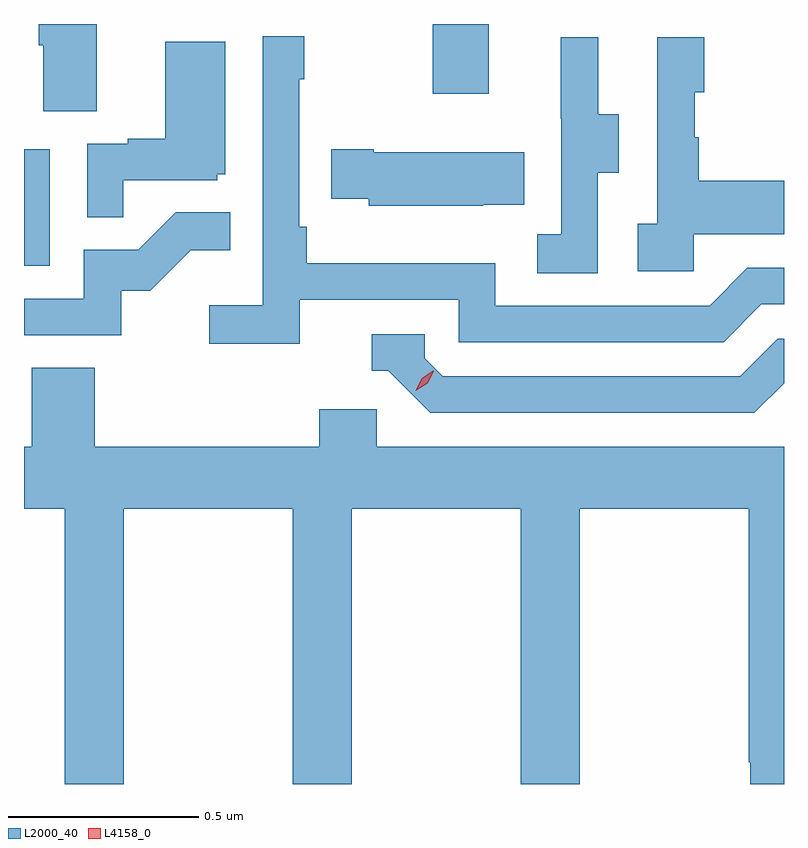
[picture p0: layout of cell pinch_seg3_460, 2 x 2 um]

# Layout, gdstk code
import gdstk
lib = gdstk.Library(unit=1e-6, precision=1e-09)
def R(c, l, rs):  # rectangles x0, y0, x1, y1
    for r in rs: c.add(gdstk.rectangle(r[:2], r[2:], *l))
def P(c, l, *ps):  # polygons
    for p in ps: c.add(gdstk.Polygon(p, *l))
L2000_40 = (2000, 40)
L4158_0 = (4158, 0)

pinch_seg3_460 = lib.new_cell('pinch_seg3_460')
R(pinch_seg3_460, L2000_40, [(897.572,672.252,897.64,672.559), (898.648,672.705,898.795,672.888)])
P(pinch_seg3_460, L2000_40, [(897.763,672.888),(897.611,672.888),(897.611,672.832),(897.623,672.832),(897.623,672.658),(897.763,672.658)],
  [(898.298,672.162),(898.716,672.162),(898.716,672.051),(899.413,672.051),(899.512,672.15),(899.572,672.15),(899.572,672.246),(899.475,672.246),(899.376,672.147),(898.812,672.147),(898.812,672.259),(898.316,672.259),(898.316,672.355),(898.296,672.355),(898.296,672.743),(898.309,672.743),(898.309,672.856),(898.2,672.856),(898.2,672.148),(898.059,672.148),(898.059,672.046),(898.298,672.046)],
  [(899.082,672.496),(899.137,672.496),(899.137,672.651),(899.083,672.651),(899.083,672.853),(898.985,672.853),(898.985,672.639),(898.986,672.639),(898.986,672.335),(898.923,672.335),(898.923,672.232),(899.082,672.232)],
  [(899.334,672.335),(899.572,672.335),(899.572,672.475),(899.347,672.475),(899.347,672.59),(899.337,672.59),(899.337,672.708),(899.362,672.708),(899.362,672.853),(899.238,672.853),(899.238,672.362),(899.187,672.362),(899.187,672.237),(899.334,672.237)],
  [(897.833,672.477),(898.08,672.477),(898.08,672.492),(898.102,672.492),(898.102,672.841),(897.944,672.841),(897.944,672.586),(897.845,672.586),(897.845,672.573),(897.738,672.573),(897.738,672.379),(897.833,672.379)],
  [(898.781,672.413),(898.889,672.413),(898.889,672.55),(898.492,672.55),(898.492,672.558),(898.381,672.558),(898.381,672.428),(898.479,672.428),(898.479,672.41),(898.781,672.41)],
  [(897.828,672.186),(897.904,672.186),(898.011,672.293),(898.115,672.293),(898.115,672.392),(897.971,672.392),(897.873,672.294),(897.729,672.294),(897.729,672.165),(897.572,672.165),(897.572,672.069),(897.828,672.069)],
  [(899.572,671.943),(899.572,672.06),(899.556,672.06),(899.457,671.961),(898.674,671.961),(898.626,672.009),(898.626,672.072),(898.487,672.072),(898.487,671.976),(898.53,671.976),(898.641,671.865),(899.494,671.865)],
  [(897.834,671.612),(898.279,671.612),(898.279,670.888),(898.434,670.888),(898.434,671.612),(898.879,671.612),(898.879,670.888),(899.034,670.888),(899.034,671.612),(899.479,671.612),(899.479,670.945),(899.483,670.945),(899.483,670.888),(899.572,670.888),(899.572,671.776),(898.5,671.776),(898.5,671.874),(898.349,671.874),(898.349,671.776),(897.758,671.776),(897.758,671.984),(897.593,671.984),(897.593,671.776),(897.572,671.776),(897.572,671.612),(897.679,671.612),(897.679,670.888),(897.834,670.888)])
P(pinch_seg3_460, L4158_0, [(898.603,671.923),(898.603,671.923),(898.619,671.956),(898.649,671.975),(898.65,671.975),(898.65,671.975),(898.634,671.942),(898.603,671.923)])

lib.write_gds('pinch_seg3_460.gds')
